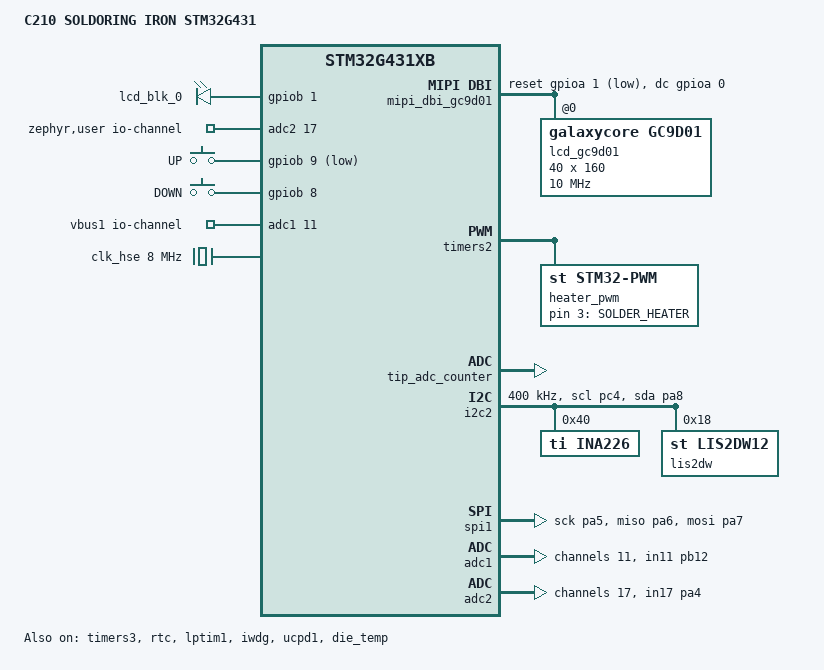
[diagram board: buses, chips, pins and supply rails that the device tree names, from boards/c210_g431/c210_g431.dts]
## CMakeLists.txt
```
cmake_minimum_required(VERSION 3.20.0)


set(BOARD_ROOT ${CMAKE_SOURCE_DIR})
#set(BOARD c210_g431)



find_package(Zephyr REQUIRED HINTS $ENV{ZEPHYR_BASE})

project(c210)

target_sources(app PRIVATE
  src/main.c
  src/usb_pd.c
  src/app_ui.c
  src/temperature_adc.c
  src/heater_controller.c
  src/pid_controller.c
  src/sleep_detection.c
  src/moving_average.c
  src/tft/canvas.c
  src/tft/fonts.c
)
```

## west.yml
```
manifest:
  remotes:
    - name: maoabc
      url-base: https://github.com/maoabc
    - name: zephyrproject-rtos
      url-base: https://github.com/zephyrproject-rtos

  projects:
    - name: zephyr
      remote: zephyrproject-rtos
      revision: main  
      import: true    # 必须！没有这个无法编译，报 boards.cmake 错误
      path: zephyr-master

    - name: gc9d01_zephyr
      remote: maoabc
      revision: main
      path: deps/gc9d01

  self:
    path: .
```

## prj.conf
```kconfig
CONFIG_USBC_STACK=y
CONFIG_USBC_CSM_SINK_ONLY=y
CONFIG_USBC_THREAD_PRIORITY=2

#CONFIG_MAIN_THREAD_PRIORITY=2

# 修改counter驱动初始化到PRE_KERNEL_2
# 修改stm32的ucpd驱动初始化到PRE_KERNEL_2
# 然后设置它们优先级，保证ucpd先于counter初始化
#CONFIG_COUNTER_INIT_PRIORITY=60
#CONFIG_USBC_TCPC_INIT_PRIORITY=10

CONFIG_FPU=y
#CONFIG_CMSIS_DSP=y
CONFIG_FP_HARDABI=y

#CONFIG_CMSIS_DSP_CONTROLLER=y
#CONFIG_CMSIS_DSP_FILTERING=y



CONFIG_GPIO=y
CONFIG_I2C=y
CONFIG_SPI=y



CONFIG_INPUT=y
CONFIG_INPUT_MODE_THREAD=y
CONFIG_INPUT_QUEUE_MAX_MSGS=8
CONFIG_INPUT_THREAD_STACK_SIZE=512

CONFIG_MAIN_STACK_SIZE=2048

#使用smf状态机框架
CONFIG_SMF=y


CONFIG_HEAP_MEM_POOL_SIZE=12288

CONFIG_DISPLAY=y
CONFIG_MIPI_DBI=y
CONFIG_MIPI_DBI_SPI=y
CONFIG_GC9D01=y
#CONFIG_DISPLAY_LOG_LEVEL_ERR=y


#CONFIG_CONSOLE=y
#
#CONFIG_SEMIHOST=y
#CONFIG_SEMIHOST_CONSOLE=y
#
#CONFIG_SERIAL=y
#CONFIG_UART_INTERRUPT_DRIVEN=y
#CONFIG_UART_CONSOLE=y
```

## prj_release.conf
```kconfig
# The following symbols are some of the settings that are currently recommended
# by the hardening tool https://docs.zephyrproject.org/latest/security/hardening-tool.html
# This file is used for builds with CONF_FILE=prj_release.conf
CONFIG_LOG=n
CONFIG_PRINTK=n
CONFIG_BOOT_BANNER=n
CONFIG_EARLY_CONSOLE=n
CONFIG_OVERRIDE_FRAME_POINTER_DEFAULT=y
CONFIG_USE_SEGGER_RTT=n
CONFIG_BUILD_OUTPUT_STRIPPED=y
CONFIG_FAULT_DUMP=0
CONFIG_STACK_SENTINEL=y

# Kconfig symbols are also used to set compiler optimizations. E.g., the following symbol optimizes
# the build for size using the compiler flag "-Os". You should therefore not modify the compiler
# flags in your CMake configuration, but use Kconfig instead.
# See also, https://docs.zephyrproject.org/latest/kconfig.html#CONFIG_COMPILER_OPTIMIZATIONS
CONFIG_SIZE_OPTIMIZATIONS=y
```

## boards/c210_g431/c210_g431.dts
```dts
/dts-v1/;
#include <st/g4/stm32g431Xb.dtsi>
#include <st/g4/stm32g431c(6-8-b)ux-pinctrl.dtsi>
#include <zephyr/dt-bindings/usb-c/pd.h>
#include <zephyr/dt-bindings/input/input-event-codes.h>

#include <zephyr/dt-bindings/display/panel.h>
#include <zephyr/dt-bindings/sensor/lis2dw12.h>
#include <zephyr/dt-bindings/pwm/pwm.h>



#include <zephyr/dt-bindings/mipi_dbi/mipi_dbi.h>


/ {
	model = "C210 SOLDORING IRON STM32G431";
	compatible = "mao,c210_g431";

	chosen {
		zephyr,sram = &sram0;
		zephyr,flash = &flash0;
		zephyr,display = &lcd_gc9d01;

	};

	aliases {
		btn0 = &button_0;
		btn1 = &button_1;
		lcd-blk = &lcd_blk_0;
		ina226 = &ina226;
		usbc-port0 = &usbc1;
		watchdog0 = &iwdg;
	};

	leds: leds {
		compatible = "gpio-leds";
        lcd_blk_0: lcd_blk0 {
			gpios = <&gpiob 1 GPIO_ACTIVE_HIGH>;
		};
	};

    zephyr,user {
        io-channels = <&adc2 17>;
    };



	buttons: buttons {
		compatible = "gpio-keys";
		polling-mode;
		debounce-interval-ms = <30>;
		button_0: button0 {
			label = "UP";
			gpios = <&gpiob 9 (GPIO_PULL_UP | GPIO_ACTIVE_LOW)>;
			zephyr,code = <INPUT_KEY_0>;
		};
		button_1: button1 {
			label = "DOWN";
			gpios = <&gpiob 8  (GPIO_PULL_DOWN | GPIO_ACTIVE_HIGH)>;
			zephyr,code = <INPUT_KEY_1>;
		};
	};

	longpress {
          input = <&buttons>;
          compatible = "zephyr,input-longpress";
          input-codes = <INPUT_KEY_0>,<INPUT_KEY_1>;
          short-codes = <INPUT_KEY_A>,<INPUT_KEY_B>;
          long-codes = <INPUT_KEY_X>,<INPUT_KEY_Y>;
          long-delay-ms = <1000>;
    };
	vbus1: vbus {
		compatible = "zephyr,usb-c-vbus-adc";
		status = "okay";
		io-channels = <&adc1 11>;
		output-ohms = <3600>;
		full-ohms = <(35000+3600)>;
	};
	ports {
		#address-cells = <1>;
		#size-cells = <0>;

		usbc1: usbc-port@1 {
			compatible = "usb-c-connector";
			status = "okay";
			reg = <1>;
			tcpc = <&ucpd1>;
			vbus = <&vbus1>;
			data-role = "device";
			power-role = "sink";
			sink-pdos = <
				PDO_FIXED(5000, 100, PDO_FIXED_USB_COMM)
				PDO_FIXED(9000, 1000, 0)
			>;
		};
		
    };
    pwmleds: pwmleds {
        compatible = "pwm-leds";
        status = "okay";
        solder_heater: solder_heater {
            pwms = <&heater_pwm 3 PWM_USEC(200) PWM_POLARITY_NORMAL>; /* TIM2_CH3，5 kHz  */
            label = "SOLDER_HEATER";
        }; 
    };

	mipi_dbi_gc9d01: mipi_dbi_gc9d01 {
		compatible = "zephyr,mipi-dbi-spi";
		spi-dev = <&spi1>;
		dc-gpios = <&gpioa 0 GPIO_ACTIVE_HIGH>;
		reset-gpios = <&gpioa 1 GPIO_ACTIVE_LOW>;
		#address-cells = <1>;
		#size-cells = <0>;

		 lcd_gc9d01: gc9d01@0 {
            compatible = "galaxycore,gc9d01";
            reg = <0>;
            mipi-max-frequency = <10000000>; 
            mipi-mode= "MIPI_DBI_MODE_SPI_4WIRE";
            width = <40>;
            height = <160>;
            pixel-format = <PANEL_PIXEL_FORMAT_RGB_565>;
            orientation = "90";
            //display-inversion; /* 可选，启用颜色反转 */
            pwrctrl2= [2c];
            pwrctrl3= [1a];
            pwrctrl4= [28];
            gamma1= [13 15 04 05 01 38];
            gamma2= [4B B8 7B 34 35 EF];
            gamma3= [13 15 04 05 01 34];
            gamma4= [47 B4 72 34 35 DA];

         };
    };

};


/* 启用 timers2 和 PWM 子节点 */
&timers2 {
    status = "okay";

    heater_pwm: heater_pwm {
        compatible = "st,stm32-pwm";
        #pwm-cells = <3>;
        pinctrl-0 = <&tim2_ch3_pa2>;
        pinctrl-names = "default";
        status = "okay";
    };
};

&timers3 {
    status = "okay";
    st,prescaler = <143>;


    //用counter对烙铁头热电偶定时采样
    tip_adc_counter: tip_adc_counter {
				compatible = "st,stm32-counter";
				status = "okay";
				label = "COUNTER_2";
	};
};





&clk_lsi {
	status = "okay";
};

&clk_lse {
	status = "disabled";
};

&clk_hsi {
	status = "disabled";
};

&clk_hse {
	status = "okay";
	clock-frequency = <DT_FREQ_M(8)>;
};

&rcc {
	clocks = <&pll>;
	clock-frequency = <DT_FREQ_M(144)>;
	ahb-prescaler = <1>;
	apb1-prescaler = <1>;
	apb2-prescaler = <1>;
};

&pll {
	status = "okay";
	div-m = <1>;
	mul-n = <36>;
	div-p = <2>;
	div-q = <6>;
	div-r = <2>;
	clocks = <&clk_hse>;
};

&rtc {
	status = "okay";
	clocks = <&rcc STM32_CLOCK_BUS_APB1 0x00000400>,
		 <&rcc STM32_SRC_LSI RTC_SEL(2)>;
};

stm32_lp_tick_source: &lptim1 {
    status = "okay";
    clocks = <&rcc STM32_CLOCK_BUS_APB1 0x80000000>, /* APB1 时钟 */
             <&rcc STM32_SRC_LSI LPTIM1_SEL(1)>; /* 使用 LSI 作为 LPTIM1 时钟源 */
};

&flash0 {
	partitions {
		compatible = "fixed-partitions";
		#address-cells = <1>;
		#size-cells = <1>;

		/* 4KiB of storage at the end of the 128KiB FLASH */
		storage_partition: partition@1f000 {
			label = "storage";
			reg = <0x0001f000 DT_SIZE_K(4)>;
		};
	};
};

&iwdg {
	status = "okay";
};

//&usart2 {
//	status = "disabled";
//	pinctrl-0 = <&usart2_tx_pa2 &usart2_rx_pa3>;
//	pinctrl-names = "default";
//	current-speed = <115200>;
//};


&i2c2 {
	status = "okay";
	pinctrl-0 = <&i2c2_scl_pc4 &i2c2_sda_pa8>;
	pinctrl-names = "default";
	clock-frequency = <I2C_BITRATE_FAST>;

	#address-cells = <1>;
	#size-cells = <0>;

	ina226: ina226@40 {
		compatible = "ti,ina226";
		status = "okay";
		reg = <0x40>;
		avg-count = <4>;
		vbus-conversion-time-us = <1100>;
		vshunt-conversion-time-us = <1100>;
		operating-mode = "Shunt and Bus, Continuous";
		current-lsb-microamps = <250>;
		rshunt-micro-ohms = <5000>; //5mR
	};

    lis2dw: lis2dw@18{
        compatible = "st,lis2dw12";
        status = "okay";
        reg = <0x18>;
        //wakeup-duration = <LIS2DW12_DT_WAKEUP_4_ODR>;
        //ff-threshold = <LIS2DW12_DT_FF_THRESHOLD_500_mg>;
        //tap-mode = <LIS2DW12_DT_SINGLE_DOUBLE_TAP>;
        power-mode = <LIS2DW12_DT_HP_MODE>;
        bw-filt = <LIS2DW12_DT_FILTER_BW_ODR_DIV_2>;
        odr = <100>;
        range = <2>;
        //irq-gpios = <&gpioc 6 GPIO_ACTIVE_HIGH>; // 可选：中断引脚
    };
	
};

&spi1 {
	status = "okay";
	pinctrl-0 = <
		         &spi1_sck_pa5
	             &spi1_miso_pa6
                 &spi1_mosi_pa7
	>;
	pinctrl-names = "default";
    cs-gpios = <&gpiob 10 GPIO_ACTIVE_LOW>;
    
};


&adc1 {
	#address-cells = <1>;
	#size-cells = <0>;

	pinctrl-0 = <&adc1_in11_pb12	    /* VBUS */
		    >;
	pinctrl-names = "default";
	st,adc-clock-source = "SYNC";
	st,adc-prescaler = <4>;
	status = "okay";

	channel@b {
		reg = <0xb>;
		zephyr,gain = "ADC_GAIN_1";
		zephyr,reference = "ADC_REF_INTERNAL";
		zephyr,vref-mv = <3300>;
		zephyr,acquisition-time = <ADC_ACQ_TIME_DEFAULT>;
		zephyr,resolution = <12>;
	};
};


&adc2 {
	#address-cells = <1>;
	#size-cells = <0>;

	pinctrl-0 = <&adc2_in17_pa4	    /* c210 temp */
		    >;
	pinctrl-names = "default";
	st,adc-clock-source = "SYNC";
	st,adc-prescaler = <4>;
	status = "okay";

	channel@11 {
		reg = <0x11>;
		zephyr,gain = "ADC_GAIN_1";
		zephyr,reference = "ADC_REF_INTERNAL";
		zephyr,vref-mv = <3300>;
		zephyr,acquisition-time = <ADC_ACQ_TIME(ADC_ACQ_TIME_TICKS, 6)>;
		zephyr,resolution = <12>;
        zephyr,oversampling = <4>;
	};
};

&dma1{
	status = "okay";
};

&ucpd1 {
	psc-ucpdclk = <1>;
	hbitclkdiv = <27>;
	pinctrl-0 = <&ucpd1_cc1_pb6 &ucpd1_cc2_pb4>;
	pinctrl-names = "default";
	status = "okay";
	dead-battery;
};
//stm32温度
&die_temp {
    status = "okay";
};
```

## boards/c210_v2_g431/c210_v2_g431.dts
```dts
/dts-v1/;
#include <st/g4/stm32g431Xb.dtsi>
#include <st/g4/stm32g431c(6-8-b)ux-pinctrl.dtsi>
#include <zephyr/dt-bindings/usb-c/pd.h>
#include <zephyr/dt-bindings/input/input-event-codes.h>

#include <zephyr/dt-bindings/display/panel.h>
#include <zephyr/dt-bindings/sensor/lis2dw12.h>
#include <zephyr/dt-bindings/pwm/pwm.h>



#include <zephyr/dt-bindings/mipi_dbi/mipi_dbi.h>


/ {
	model = "C210 SOLDORING IRON STM32G431";
	compatible = "mao,c210_v2_g431";

	chosen {
		zephyr,sram = &sram0;
		zephyr,flash = &flash0;
		zephyr,display = &lcd_gc9d01;

	};

	aliases {
		btn0 = &button_0;
		btn1 = &button_1;
		lcd-blk = &lcd_blk_0;
		ina226 = &ina226;
		usbc-port0 = &usbc1;
		watchdog0 = &iwdg;
	};

	leds: leds {
		compatible = "gpio-leds";
        lcd_blk_0: lcd_blk0 {
			gpios = <&gpiob 1 GPIO_ACTIVE_HIGH>;
		};
	};

    zephyr,user {
        io-channels = <&adc2 17>;
    };



	buttons: buttons {
		compatible = "gpio-keys";
		polling-mode;
		debounce-interval-ms = <30>;
		button_0: button0 {
			label = "UP";
			gpios = <&gpiob 9 (GPIO_PULL_UP | GPIO_ACTIVE_LOW)>;
			zephyr,code = <INPUT_KEY_0>;
		};
		button_1: button1 {
			label = "DOWN";
			gpios = <&gpiob 8  (GPIO_PULL_DOWN | GPIO_ACTIVE_HIGH)>;
			zephyr,code = <INPUT_KEY_1>;
		};
	};

	longpress {
          input = <&buttons>;
          compatible = "zephyr,input-longpress";
          input-codes = <INPUT_KEY_0>,<INPUT_KEY_1>;
          short-codes = <INPUT_KEY_A>,<INPUT_KEY_B>;
          long-codes = <INPUT_KEY_X>,<INPUT_KEY_Y>;
          long-delay-ms = <1000>;
    };
	vbus1: vbus {
		compatible = "zephyr,usb-c-vbus-adc";
		status = "okay";
		io-channels = <&adc1 11>;
		output-ohms = <3600>;
		full-ohms = <(35000+3600)>;
	};
	ports {
		#address-cells = <1>;
		#size-cells = <0>;

		usbc1: usbc-port@1 {
			compatible = "usb-c-connector";
			status = "okay";
			reg = <1>;
			tcpc = <&ucpd1>;
			vbus = <&vbus1>;
			data-role = "device";
			power-role = "sink";
			sink-pdos = <
				PDO_FIXED(5000, 100, PDO_FIXED_USB_COMM)
				PDO_FIXED(9000, 1000, 0)
			>;
		};
		
    };
    pwmleds: pwmleds {
        compatible = "pwm-leds";
        status = "okay";
        solder_heater: solder_heater {
            pwms = <&heater_pwm 2 PWM_USEC(50) PWM_POLARITY_NORMAL>; /* TIM2_CH2 */
            label = "SOLDER_HEATER";
        }; 
    };

	mipi_dbi_gc9d01: mipi_dbi_gc9d01 {
		compatible = "zephyr,mipi-dbi-spi";
		spi-dev = <&spi1>;
		dc-gpios = <&gpioa 0 GPIO_ACTIVE_HIGH>;
		reset-gpios = <&gpioc 13 GPIO_ACTIVE_LOW>;
		#address-cells = <1>;
		#size-cells = <0>;

		 lcd_gc9d01: gc9d01@0 {
            compatible = "galaxycore,gc9d01";
            reg = <0>;
            mipi-max-frequency = <10000000>; 
            mipi-mode= "MIPI_DBI_MODE_SPI_4WIRE";
            width = <40>;
            height = <160>;
            pixel-format = <PANEL_PIXEL_FORMAT_RGB_565>;
            orientation = "90";
            //display-inversion; /* 可选，启用颜色反转 */
            pwrctrl2= [2c];
            pwrctrl3= [1a];
            pwrctrl4= [28];
            gamma1= [13 15 04 05 01 38];
            gamma2= [4B B8 7B 34 35 EF];
            gamma3= [13 15 04 05 01 34];
            gamma4= [47 B4 72 34 35 DA];

         };
    };

};


/* 启用 timers2 和 PWM 子节点 */
&timers2 {
    status = "okay";

    heater_pwm: heater_pwm {
        compatible = "st,stm32-pwm";
        #pwm-cells = <3>;
        pinctrl-0 = <&tim2_ch2_pa1>;
        pinctrl-names = "default";
        status = "okay";
    };
};

&timers3 {
    status = "okay";
    st,prescaler = <143>;


    //用counter对烙铁头热电偶定时采样
    tip_adc_counter: tip_adc_counter {
				compatible = "st,stm32-counter";
				status = "okay";
				label = "COUNTER_2";
	};
};



&clk_lsi {
	status = "okay";
};

&clk_lse {
	status = "disabled";
};

&clk_hsi {
	status = "disabled";
};

&clk_hse {
	status = "okay";
	clock-frequency = <DT_FREQ_M(8)>;
};

&rcc {
	clocks = <&pll>;
	clock-frequency = <DT_FREQ_M(144)>;
	ahb-prescaler = <1>;
	apb1-prescaler = <1>;
	apb2-prescaler = <1>;
};

&pll {
	status = "okay";
	div-m = <1>;
	mul-n = <36>;
	div-p = <2>;
	div-q = <6>;
	div-r = <2>;
	clocks = <&clk_hse>;
};

&rtc {
	status = "okay";
	clocks = <&rcc STM32_CLOCK_BUS_APB1 0x00000400>,
		 <&rcc STM32_SRC_LSI RTC_SEL(2)>;
};

stm32_lp_tick_source: &lptim1 {
    status = "okay";
    clocks = <&rcc STM32_CLOCK_BUS_APB1 0x80000000>, /* APB1 时钟 */
             <&rcc STM32_SRC_LSI LPTIM1_SEL(1)>; /* 使用 LSI 作为 LPTIM1 时钟源 */
};

&flash0 {
	partitions {
		compatible = "fixed-partitions";
		#address-cells = <1>;
		#size-cells = <1>;

		/* 4KiB of storage at the end of the 128KiB FLASH */
		storage_partition: partition@1f000 {
			label = "storage";
			reg = <0x0001f000 DT_SIZE_K(4)>;
		};
	};
};

&iwdg {
	status = "okay";
};

//&usart2 {
//	status = "disabled";
//	pinctrl-0 = <&usart2_tx_pa2 &usart2_rx_pa3>;
//	pinctrl-names = "default";
//	current-speed = <115200>;
//};


&i2c2 {
	status = "okay";
	pinctrl-0 = <&i2c2_scl_pc4 &i2c2_sda_pa8>;
	pinctrl-names = "default";
	clock-frequency = <I2C_BITRATE_FAST>;

	#address-cells = <1>;
	#size-cells = <0>;

	ina226: ina226@40 {
		compatible = "ti,ina226";
		status = "okay";
		reg = <0x40>;
		avg-count = <4>;
		vbus-conversion-time-us = <1100>;
		vshunt-conversion-time-us = <1100>;
		operating-mode = "Shunt and Bus, Continuous";
		current-lsb-microamps = <250>;
		rshunt-micro-ohms = <5000>; //5mR
	};

    lis2dw: lis2dw@18{
        compatible = "st,lis2dw12";
        status = "okay";
        reg = <0x18>;
        //wakeup-duration = <LIS2DW12_DT_WAKEUP_4_ODR>;
        //ff-threshold = <LIS2DW12_DT_FF_THRESHOLD_500_mg>;
        //tap-mode = <LIS2DW12_DT_SINGLE_DOUBLE_TAP>;
        power-mode = <LIS2DW12_DT_HP_MODE>;
        bw-filt = <LIS2DW12_DT_FILTER_BW_ODR_DIV_2>;
        odr = <100>;
        range = <2>;
        //irq-gpios = <&gpioc 6 GPIO_ACTIVE_HIGH>; // 可选：中断引脚
    };
	
};

&spi1 {
	status = "okay";
	pinctrl-0 = <
		         &spi1_sck_pa5
	             &spi1_miso_pa6
                 &spi1_mosi_pa7
	>;
	pinctrl-names = "default";
    cs-gpios = <&gpiob 10 GPIO_ACTIVE_LOW>;
    
};

&adc1 {
	#address-cells = <1>;
	#size-cells = <0>;

	pinctrl-0 = <&adc1_in11_pb12	    /* VBUS */
		    >;
	pinctrl-names = "default";
	st,adc-clock-source = "SYNC";
	st,adc-prescaler = <4>;
	status = "okay";

	channel@b {
		reg = <0xb>;
		zephyr,gain = "ADC_GAIN_1";
		zephyr,reference = "ADC_REF_INTERNAL";
		zephyr,vref-mv = <3300>;
		zephyr,acquisition-time = <ADC_ACQ_TIME_DEFAULT>;
		zephyr,resolution = <12>;
	};
};


&adc2 {
	#address-cells = <1>;
	#size-cells = <0>;

	pinctrl-0 = <&adc2_in17_pa4	    /* c210 temp */
		    >;
	pinctrl-names = "default";
	st,adc-clock-source = "SYNC";
	st,adc-prescaler = <4>;
	status = "okay";

	channel@11 {
		reg = <0x11>;
		zephyr,gain = "ADC_GAIN_1";
		zephyr,reference = "ADC_REF_INTERNAL";
		zephyr,vref-mv = <3300>;
		zephyr,acquisition-time = <ADC_ACQ_TIME(ADC_ACQ_TIME_TICKS, 6)>;
		zephyr,resolution = <12>;
        zephyr,oversampling = <4>;
	};
};

//&dma1{
//	status = "okay";
//};

&ucpd1 {
	psc-ucpdclk = <1>;
	hbitclkdiv = <27>;
	pinctrl-0 = <&ucpd1_cc1_pb6 &ucpd1_cc2_pb4>;
	pinctrl-names = "default";
	status = "okay";
	dead-battery;
};

//stm32温度
&die_temp {
    status = "okay";
};
```

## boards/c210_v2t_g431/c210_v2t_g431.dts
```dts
/dts-v1/;
#include <st/g4/stm32g431Xb.dtsi>
#include <st/g4/stm32g431c(6-8-b)ux-pinctrl.dtsi>
#include <zephyr/dt-bindings/usb-c/pd.h>
#include <zephyr/dt-bindings/input/input-event-codes.h>

#include <zephyr/dt-bindings/display/panel.h>
#include <zephyr/dt-bindings/sensor/lis2dw12.h>
#include <zephyr/dt-bindings/pwm/pwm.h>



#include <zephyr/dt-bindings/mipi_dbi/mipi_dbi.h>


/ {
	model = "C210 SOLDORING IRON STM32G431";
	compatible = "mao,c210_v2t_g431";

	chosen {
		zephyr,sram = &sram0;
		zephyr,flash = &flash0;
		zephyr,display = &lcd_gc9d01;

	};

	aliases {
		btn0 = &button_0;
		btn1 = &button_1;
		lcd-blk = &lcd_blk_0;
		ina226 = &ina226;
		usbc-port0 = &usbc1;
		watchdog0 = &iwdg;
	};

	leds: leds {
		compatible = "gpio-leds";
        lcd_blk_0: lcd_blk0 {
			gpios = <&gpiob 1 GPIO_ACTIVE_HIGH>;
		};
	};

    zephyr,user {
        io-channels = <&adc2 2>;
    };



	buttons: buttons {
		compatible = "gpio-keys";
		polling-mode;
		debounce-interval-ms = <30>;
		button_0: button0 {
			label = "UP";
			gpios = <&gpiob 9 (GPIO_PULL_UP | GPIO_ACTIVE_LOW)>;
			zephyr,code = <INPUT_KEY_0>;
		};
		button_1: button1 {
			label = "DOWN";
			gpios = <&gpiob 8  (GPIO_PULL_DOWN | GPIO_ACTIVE_HIGH)>;
			zephyr,code = <INPUT_KEY_1>;
		};
	};

	longpress {
          input = <&buttons>;
          compatible = "zephyr,input-longpress";
          input-codes = <INPUT_KEY_0>,<INPUT_KEY_1>;
          short-codes = <INPUT_KEY_A>,<INPUT_KEY_B>;
          long-codes = <INPUT_KEY_X>,<INPUT_KEY_Y>;
          long-delay-ms = <1000>;
    };
	vbus1: vbus {
		compatible = "zephyr,usb-c-vbus-adc";
		status = "okay";
		io-channels = <&adc1 11>;
		output-ohms = <3600>;
		full-ohms = <(35000+3600)>;
	};
	ports {
		#address-cells = <1>;
		#size-cells = <0>;

		usbc1: usbc-port@1 {
			compatible = "usb-c-connector";
			status = "okay";
			reg = <1>;
			tcpc = <&ucpd1>;
			vbus = <&vbus1>;
			data-role = "device";
			power-role = "sink";
			sink-pdos = <
				PDO_FIXED(5000, 100, PDO_FIXED_USB_COMM)
				PDO_FIXED(9000, 1000, 0)
			>;
		};
		
    };
    pwmleds: pwmleds {
        compatible = "pwm-leds";
        status = "okay";
        solder_heater: solder_heater {
            pwms = <&heater_pwm 2 PWM_USEC(50) PWM_POLARITY_NORMAL>; /* TIM3_CH2 */
            label = "SOLDER_HEATER";
        }; 
    };

	mipi_dbi_gc9d01: mipi_dbi_gc9d01 {
		compatible = "zephyr,mipi-dbi-spi";
		spi-dev = <&spi1>;
		dc-gpios = <&gpioa 0 GPIO_ACTIVE_HIGH>;
		reset-gpios = <&gpioc 13 GPIO_ACTIVE_LOW>;
		#address-cells = <1>;
		#size-cells = <0>;

		 lcd_gc9d01: gc9d01@0 {
            compatible = "galaxycore,gc9d01";
            reg = <0>;
            mipi-max-frequency = <10000000>; 
            mipi-mode= "MIPI_DBI_MODE_SPI_4WIRE";
            width = <40>;
            height = <160>;
            pixel-format = <PANEL_PIXEL_FORMAT_RGB_565>;
            orientation = "90";
            //display-inversion; /* 可选，启用颜色反转 */
            pwrctrl2= [2c];
            pwrctrl3= [1a];
            pwrctrl4= [28];
            gamma1= [13 15 04 05 01 38];
            gamma2= [4B B8 7B 34 35 EF];
            gamma3= [13 15 04 05 01 34];
            gamma4= [47 B4 72 34 35 DA];

         };
    };

};


/* 启用 timers3 和 PWM 子节点 */
&timers3 {
    status = "okay";

    heater_pwm: heater_pwm {
        compatible = "st,stm32-pwm";
        #pwm-cells = <3>;
        pinctrl-0 = <&tim3_ch2_pa4>;
        pinctrl-names = "default";
        status = "okay";
    };
};

&timers2 {
    status = "okay";
    st,prescaler = <143>;


    //用counter对烙铁头热电偶定时采样
    tip_adc_counter: tip_adc_counter {
				compatible = "st,stm32-counter";
				status = "okay";
				label = "COUNTER_2";
	};
};



&clk_lsi {
	status = "okay";
};

&clk_lse {
	status = "disabled";
};

&clk_hsi {
	status = "disabled";
};

&clk_hse {
	status = "okay";
	clock-frequency = <DT_FREQ_M(8)>;
};

&rcc {
	clocks = <&pll>;
	clock-frequency = <DT_FREQ_M(144)>;
	ahb-prescaler = <1>;
	apb1-prescaler = <1>;
	apb2-prescaler = <1>;
};

&pll {
	status = "okay";
	div-m = <1>;
	mul-n = <36>;
	div-p = <2>;
	div-q = <6>;
	div-r = <2>;
	clocks = <&clk_hse>;
};

&rtc {
	status = "okay";
	clocks = <&rcc STM32_CLOCK_BUS_APB1 0x00000400>,
		 <&rcc STM32_SRC_LSI RTC_SEL(2)>;
};

stm32_lp_tick_source: &lptim1 {
    status = "okay";
    clocks = <&rcc STM32_CLOCK_BUS_APB1 0x80000000>, /* APB1 时钟 */
             <&rcc STM32_SRC_LSI LPTIM1_SEL(1)>; /* 使用 LSI 作为 LPTIM1 时钟源 */
};

&flash0 {
	partitions {
		compatible = "fixed-partitions";
		#address-cells = <1>;
		#size-cells = <1>;

		/* 4KiB of storage at the end of the 128KiB FLASH */
		storage_partition: partition@1f000 {
			label = "storage";
			reg = <0x0001f000 DT_SIZE_K(4)>;
		};
	};
};

&iwdg {
	status = "okay";
};

//&usart2 {
//	status = "disabled";
//	pinctrl-0 = <&usart2_tx_pa2 &usart2_rx_pa3>;
//	pinctrl-names = "default";
//	current-speed = <115200>;
//};


&i2c2 {
	status = "okay";
	pinctrl-0 = <&i2c2_scl_pc4 &i2c2_sda_pa8>;
	pinctrl-names = "default";
	clock-frequency = <I2C_BITRATE_FAST>;

	#address-cells = <1>;
	#size-cells = <0>;

	ina226: ina226@40 {
		compatible = "ti,ina226";
		status = "okay";
		reg = <0x40>;
		avg-count = <4>;
		vbus-conversion-time-us = <1100>;
		vshunt-conversion-time-us = <1100>;
		operating-mode = "Shunt and Bus, Continuous";
		current-lsb-microamps = <250>;
		rshunt-micro-ohms = <5000>; //5mR
	};

    lis2dw: lis2dw@18{
        compatible = "st,lis2dw12";
        status = "okay";
        reg = <0x18>;
        //wakeup-duration = <LIS2DW12_DT_WAKEUP_4_ODR>;
        //ff-threshold = <LIS2DW12_DT_FF_THRESHOLD_500_mg>;
        //tap-mode = <LIS2DW12_DT_SINGLE_DOUBLE_TAP>;
        power-mode = <LIS2DW12_DT_HP_MODE>;
        bw-filt = <LIS2DW12_DT_FILTER_BW_ODR_DIV_2>;
        odr = <100>;
        range = <2>;
        //irq-gpios = <&gpioc 6 GPIO_ACTIVE_HIGH>; // 可选：中断引脚
    };
	
};

&spi1 {
	status = "okay";
	pinctrl-0 = <
		         &spi1_sck_pa5
	             &spi1_miso_pa6
                 &spi1_mosi_pa7
	>;
	pinctrl-names = "default";
    cs-gpios = <&gpiob 10 GPIO_ACTIVE_LOW>;
    
};

&adc1 {
	#address-cells = <1>;
	#size-cells = <0>;

	pinctrl-0 = <&adc1_in11_pb12	    /* VBUS */
		    >;
	pinctrl-names = "default";
	st,adc-clock-source = "SYNC";
	st,adc-prescaler = <4>;
	status = "okay";

	channel@b {
		reg = <0xb>;
		zephyr,gain = "ADC_GAIN_1";
		zephyr,reference = "ADC_REF_INTERNAL";
		zephyr,vref-mv = <3300>;
		zephyr,acquisition-time = <ADC_ACQ_TIME_DEFAULT>;
		zephyr,resolution = <12>;
	};
};

&adc2 {
	#address-cells = <1>;
	#size-cells = <0>;

	pinctrl-0 = <&adc2_in2_pa1	    /* c210 temp */
		    >;
	pinctrl-names = "default";
	st,adc-clock-source = "SYNC";
	st,adc-prescaler = <4>;
	status = "okay";

	channel@2 {
		reg = <0x02>;
		zephyr,gain = "ADC_GAIN_1";
		zephyr,reference = "ADC_REF_INTERNAL";
		zephyr,vref-mv = <3300>;
		zephyr,acquisition-time = <ADC_ACQ_TIME(ADC_ACQ_TIME_TICKS, 6)>;
		zephyr,resolution = <12>;
        zephyr,oversampling = <4>;
	};
};



//&dma1{
//	status = "okay";
//};

&ucpd1 {
	psc-ucpdclk = <1>;
	hbitclkdiv = <27>;
	pinctrl-0 = <&ucpd1_cc1_pb6 &ucpd1_cc2_pb4>;
	pinctrl-names = "default";
	status = "okay";
	dead-battery;
};

//stm32温度
&die_temp {
    status = "okay";
};
```

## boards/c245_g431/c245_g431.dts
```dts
/dts-v1/;
#include <st/g4/stm32g431Xb.dtsi>
#include <st/g4/stm32g431c(6-8-b)ux-pinctrl.dtsi>
#include <zephyr/dt-bindings/usb-c/pd.h>
#include <zephyr/dt-bindings/input/input-event-codes.h>

#include <zephyr/dt-bindings/display/panel.h>
#include <zephyr/dt-bindings/sensor/lis2dw12.h>
#include <zephyr/dt-bindings/pwm/pwm.h>



#include <zephyr/dt-bindings/mipi_dbi/mipi_dbi.h>


/ {
	model = "C245 SOLDORING IRON STM32G431";
	compatible = "mao,c245_g431";

	chosen {
		zephyr,sram = &sram0;
		zephyr,flash = &flash0;
		zephyr,display = &lcd_gc9d01;

	};

	aliases {
		btn0 = &button_0;
		btn1 = &button_1;
		lcd-blk = &lcd_blk_0;
		ina226 = &ina226;
		usbc-port0 = &usbc1;
		watchdog0 = &iwdg;
	};

	leds: leds {
		compatible = "gpio-leds";
        lcd_blk_0: lcd_blk0 {
			gpios = <&gpiob 1 GPIO_ACTIVE_HIGH>;
		};
	};

    zephyr,user {
        io-channels = <&adc2 17>;
    };



	buttons: buttons {
		compatible = "gpio-keys";
		polling-mode;
		debounce-interval-ms = <30>;
		button_0: button0 {
			label = "UP";
			gpios = <&gpiob 9 (GPIO_PULL_UP | GPIO_ACTIVE_LOW)>;
			zephyr,code = <INPUT_KEY_0>;
		};
		button_1: button1 {
			label = "DOWN";
			gpios = <&gpiob 8  (GPIO_PULL_DOWN | GPIO_ACTIVE_HIGH)>;
			zephyr,code = <INPUT_KEY_1>;
		};
	};

	longpress {
          input = <&buttons>;
          compatible = "zephyr,input-longpress";
          input-codes = <INPUT_KEY_0>,<INPUT_KEY_1>;
          short-codes = <INPUT_KEY_A>,<INPUT_KEY_B>;
          long-codes = <INPUT_KEY_X>,<INPUT_KEY_Y>;
          long-delay-ms = <1000>;
    };
	vbus1: vbus {
		compatible = "zephyr,usb-c-vbus-adc";
		status = "okay";
		io-channels = <&adc1 11>;
		output-ohms = <3600>;
		full-ohms = <(35000+3600)>;
	};
	ports {
		#address-cells = <1>;
		#size-cells = <0>;

		usbc1: usbc-port@1 {
			compatible = "usb-c-connector";
			status = "okay";
			reg = <1>;
			tcpc = <&ucpd1>;
			vbus = <&vbus1>;
			data-role = "device";
			power-role = "sink";
			sink-pdos = <
				PDO_FIXED(5000, 100, PDO_FIXED_USB_COMM)
				PDO_FIXED(9000, 1000, 0)
			>;
		};
		
    };
    pwmleds: pwmleds {
        compatible = "pwm-leds";
        status = "okay";
        solder_heater: solder_heater {
            pwms = <&heater_pwm 2 PWM_USEC(50) PWM_POLARITY_NORMAL>; /* TIM2_CH2 */
            label = "SOLDER_HEATER";
        }; 
    };

	mipi_dbi_gc9d01: mipi_dbi_gc9d01 {
		compatible = "zephyr,mipi-dbi-spi";
		spi-dev = <&spi1>;
		dc-gpios = <&gpioa 0 GPIO_ACTIVE_HIGH>;
		reset-gpios = <&gpioc 13 GPIO_ACTIVE_LOW>;
		#address-cells = <1>;
		#size-cells = <0>;

		 lcd_gc9d01: gc9d01@0 {
            compatible = "galaxycore,gc9d01";
            reg = <0>;
            mipi-max-frequency = <10000000>; 
            mipi-mode= "MIPI_DBI_MODE_SPI_4WIRE";
            width = <40>;
            height = <160>;
            pixel-format = <PANEL_PIXEL_FORMAT_RGB_565>;
            orientation = "90";
            //display-inversion; /* 可选，启用颜色反转 */
            pwrctrl2= [2c];
            pwrctrl3= [1a];
            pwrctrl4= [28];
            gamma1= [13 15 04 05 01 38];
            gamma2= [4B B8 7B 34 35 EF];
            gamma3= [13 15 04 05 01 34];
            gamma4= [47 B4 72 34 35 DA];

         };
    };

};


/* 启用 timers2 和 PWM 子节点 */
&timers2 {
    status = "okay";

    heater_pwm: heater_pwm {
        compatible = "st,stm32-pwm";
        #pwm-cells = <3>;
        pinctrl-0 = <&tim2_ch2_pa1>;
        pinctrl-names = "default";
        status = "okay";
    };
};

&timers3 {
    status = "okay";
    st,prescaler = <143>;


    //用counter对烙铁头热电偶定时采样
    tip_adc_counter: tip_adc_counter {
				compatible = "st,stm32-counter";
				status = "okay";
				label = "COUNTER_2";
	};
};



&clk_lsi {
	status = "okay";
};

&clk_lse {
	status = "disabled";
};

&clk_hsi {
	status = "disabled";
};

&clk_hse {
	status = "okay";
	clock-frequency = <DT_FREQ_M(8)>;
};

&rcc {
	clocks = <&pll>;
	clock-frequency = <DT_FREQ_M(144)>;
	ahb-prescaler = <1>;
	apb1-prescaler = <1>;
	apb2-prescaler = <1>;
};

&pll {
	status = "okay";
	div-m = <1>;
	mul-n = <36>;
	div-p = <2>;
	div-q = <6>;
	div-r = <2>;
	clocks = <&clk_hse>;
};

&rtc {
	status = "okay";
	clocks = <&rcc STM32_CLOCK_BUS_APB1 0x00000400>,
		 <&rcc STM32_SRC_LSI RTC_SEL(2)>;
};

stm32_lp_tick_source: &lptim1 {
    status = "okay";
    clocks = <&rcc STM32_CLOCK_BUS_APB1 0x80000000>, /* APB1 时钟 */
             <&rcc STM32_SRC_LSI LPTIM1_SEL(1)>; /* 使用 LSI 作为 LPTIM1 时钟源 */
};

&flash0 {
	partitions {
		compatible = "fixed-partitions";
		#address-cells = <1>;
		#size-cells = <1>;

		/* 4KiB of storage at the end of the 128KiB FLASH */
		storage_partition: partition@1f000 {
			label = "storage";
			reg = <0x0001f000 DT_SIZE_K(4)>;
		};
	};
};

&iwdg {
	status = "okay";
};

//&usart2 {
//	status = "disabled";
//	pinctrl-0 = <&usart2_tx_pa2 &usart2_rx_pa3>;
//	pinctrl-names = "default";
//	current-speed = <115200>;
//};


&i2c2 {
	status = "okay";
	pinctrl-0 = <&i2c2_scl_pc4 &i2c2_sda_pa8>;
	pinctrl-names = "default";
	clock-frequency = <I2C_BITRATE_FAST>;

	#address-cells = <1>;
	#size-cells = <0>;

	ina226: ina226@40 {
		compatible = "ti,ina226";
		status = "okay";
		reg = <0x40>;
		avg-count = <4>;
		vbus-conversion-time-us = <1100>;
		vshunt-conversion-time-us = <1100>;
		operating-mode = "Shunt and Bus, Continuous";
		current-lsb-microamps = <250>;
		rshunt-micro-ohms = <5000>; //5mR
	};

    lis2dw: lis2dw@18{
        compatible = "st,lis2dw12";
        status = "okay";
        reg = <0x18>;
        //wakeup-duration = <LIS2DW12_DT_WAKEUP_4_ODR>;
        //ff-threshold = <LIS2DW12_DT_FF_THRESHOLD_500_mg>;
        //tap-mode = <LIS2DW12_DT_SINGLE_DOUBLE_TAP>;
        power-mode = <LIS2DW12_DT_HP_MODE>;
        bw-filt = <LIS2DW12_DT_FILTER_BW_ODR_DIV_2>;
        odr = <100>;
        range = <2>;
        //irq-gpios = <&gpioc 6 GPIO_ACTIVE_HIGH>; // 可选：中断引脚
    };
	
};

&spi1 {
	status = "okay";
	pinctrl-0 = <
		         &spi1_sck_pa5
	             &spi1_miso_pa6
                 &spi1_mosi_pa7
	>;
	pinctrl-names = "default";
    cs-gpios = <&gpiob 10 GPIO_ACTIVE_LOW>;
    
};

&adc1 {
	#address-cells = <1>;
	#size-cells = <0>;

	pinctrl-0 = <&adc1_in11_pb12	    /* VBUS */
		    >;
	pinctrl-names = "default";
	st,adc-clock-source = "SYNC";
	st,adc-prescaler = <4>;
	status = "okay";

	channel@b {
		reg = <0xb>;
		zephyr,gain = "ADC_GAIN_1";
		zephyr,reference = "ADC_REF_INTERNAL";
		zephyr,vref-mv = <3300>;
		zephyr,acquisition-time = <ADC_ACQ_TIME_DEFAULT>;
		zephyr,resolution = <12>;
	};

	channel@10 {
		reg = <0x10>;
		zephyr,gain = "ADC_GAIN_1";
		zephyr,reference = "ADC_REF_INTERNAL";
		zephyr,vref-mv = <3300>;
		zephyr,acquisition-time = <ADC_ACQ_TIME_MAX>;
		zephyr,resolution = <12>;
        zephyr,oversampling = <4>;
	};
};


&adc2 {
	#address-cells = <1>;
	#size-cells = <0>;

	pinctrl-0 = <&adc2_in17_pa4	    /* c210 temp */
		    >;
	pinctrl-names = "default";
	st,adc-clock-source = "SYNC";
	st,adc-prescaler = <4>;
	status = "okay";

	channel@11 {
		reg = <0x11>;
		zephyr,gain = "ADC_GAIN_1";
		zephyr,reference = "ADC_REF_INTERNAL";
		zephyr,vref-mv = <3300>;
		zephyr,acquisition-time = <ADC_ACQ_TIME(ADC_ACQ_TIME_TICKS, 6)>;
		zephyr,resolution = <12>;
        zephyr,oversampling = <4>;
	};
};

//&dma1{
//	status = "okay";
//};

&ucpd1 {
	psc-ucpdclk = <1>;
	hbitclkdiv = <27>;
	pinctrl-0 = <&ucpd1_cc1_pb6 &ucpd1_cc2_pb4>;
	pinctrl-names = "default";
	status = "okay";
	dead-battery;
};

//stm32温度
&die_temp {
    status = "okay";
};
```

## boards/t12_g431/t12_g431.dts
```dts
/dts-v1/;
#include <st/g4/stm32g431Xb.dtsi>
#include <st/g4/stm32g431c(6-8-b)ux-pinctrl.dtsi>
#include <zephyr/dt-bindings/usb-c/pd.h>
#include <zephyr/dt-bindings/input/input-event-codes.h>

#include <zephyr/dt-bindings/display/panel.h>
#include <zephyr/dt-bindings/sensor/lis2dw12.h>
#include <zephyr/dt-bindings/pwm/pwm.h>



#include <zephyr/dt-bindings/mipi_dbi/mipi_dbi.h>


/ {
	model = "C210 SOLDORING IRON STM32G431";
	compatible = "mao,c210_g431";

	chosen {
		zephyr,sram = &sram0;
		zephyr,flash = &flash0;
		zephyr,display = &lcd_gc9d01;

	};

	aliases {
		btn0 = &button_0;
		btn1 = &button_1;
		lcd-blk = &lcd_blk_0;
		ina226 = &ina226;
		usbc-port0 = &usbc1;
		watchdog0 = &iwdg;
	};

	leds: leds {
		compatible = "gpio-leds";
        lcd_blk_0: lcd_blk0 {
			gpios = <&gpiob 1 GPIO_ACTIVE_HIGH>;
		};
	};

    zephyr,user {
        io-channels = <&adc2 17>;
    };



	buttons: buttons {
		compatible = "gpio-keys";
		polling-mode;
		debounce-interval-ms = <30>;
		button_0: button0 {
			label = "UP";
			gpios = <&gpiob 9 (GPIO_PULL_UP | GPIO_ACTIVE_LOW)>;
			zephyr,code = <INPUT_KEY_0>;
		};
		button_1: button1 {
			label = "DOWN";
			gpios = <&gpiob 8  (GPIO_PULL_DOWN | GPIO_ACTIVE_HIGH)>;
			zephyr,code = <INPUT_KEY_1>;
		};
	};

	longpress {
          input = <&buttons>;
          compatible = "zephyr,input-longpress";
          input-codes = <INPUT_KEY_0>,<INPUT_KEY_1>;
          short-codes = <INPUT_KEY_A>,<INPUT_KEY_B>;
          long-codes = <INPUT_KEY_X>,<INPUT_KEY_Y>;
          long-delay-ms = <1000>;
    };

	vbus1: vbus {
		compatible = "zephyr,usb-c-vbus-adc";
		status = "okay";
		io-channels = <&adc1 11>;
		output-ohms = <3600>;
		full-ohms = <(35000+3600)>;
	};

	ports {
		#address-cells = <1>;
		#size-cells = <0>;

		usbc1: usbc-port@1 {
			compatible = "usb-c-connector";
			status = "okay";
			reg = <1>;
			tcpc = <&ucpd1>;
			vbus = <&vbus1>;
			data-role = "device";
			power-role = "sink";
			sink-pdos = <
				PDO_FIXED(5000, 100, PDO_FIXED_USB_COMM)
				PDO_FIXED(9000, 1000, 0)
			>;
		};
		
    };
    pwmleds: pwmleds {
        compatible = "pwm-leds";
        status = "okay";
        solder_heater: solder_heater {
            pwms = <&heater_pwm 2 PWM_MSEC(1) PWM_POLARITY_NORMAL>; /* TIM2_CH2，1 kHz  */
            label = "SOLDER_HEATER";
        }; 
    };

	mipi_dbi_gc9d01: mipi_dbi_gc9d01 {
		compatible = "zephyr,mipi-dbi-spi";
		spi-dev = <&spi1>;
		dc-gpios = <&gpioa 0 GPIO_ACTIVE_HIGH>;
		reset-gpios = <&gpioa 2 GPIO_ACTIVE_LOW>;
		#address-cells = <1>;
		#size-cells = <0>;

		 lcd_gc9d01: gc9d01@0 {
            compatible = "galaxycore,gc9d01";
            reg = <0>;
            mipi-max-frequency = <10000000>; 
            mipi-mode= "MIPI_DBI_MODE_SPI_4WIRE";
            width = <40>;
            height = <160>;
            pixel-format = <PANEL_PIXEL_FORMAT_RGB_565>;
            orientation = "90";
            //display-inversion; /* 可选，启用颜色反转 */
            pwrctrl2= [2c];
            pwrctrl3= [1a];
            pwrctrl4= [28];
            gamma1= [13 15 04 05 01 38];
            gamma2= [4B B8 7B 34 35 EF];
            gamma3= [13 15 04 05 01 34];
            gamma4= [47 B4 72 34 35 DA];
         };
    };

};


/* 启用 timers2 和 PWM 子节点 */
&timers2 {
    status = "okay";

    heater_pwm: heater_pwm {
        compatible = "st,stm32-pwm";
        #pwm-cells = <3>;
        pinctrl-0 = <&tim2_ch2_pa1>;
        pinctrl-names = "default";
        status = "okay";
    };
};

&timers3 {
    status = "okay";
    st,prescaler = <143>;


    //用counter对烙铁头热电偶定时采样
    tip_adc_counter: tip_adc_counter {
				compatible = "st,stm32-counter";
				status = "okay";
				label = "COUNTER_2";
	};
};





&clk_lsi {
	status = "okay";
};

&clk_lse {
	status = "disabled";
};

&clk_hsi {
	status = "disabled";
};

&clk_hse {
	status = "okay";
	clock-frequency = <DT_FREQ_M(8)>;
};

&rcc {
	clocks = <&pll>;
	clock-frequency = <DT_FREQ_M(144)>;
	ahb-prescaler = <1>;
	apb1-prescaler = <1>;
	apb2-prescaler = <1>;
};

&pll {
	status = "okay";
	div-m = <1>;
	mul-n = <36>;
	div-p = <2>;
	div-q = <6>;
	div-r = <2>;
	clocks = <&clk_hse>;
};

&rtc {
	status = "okay";
	clocks = <&rcc STM32_CLOCK_BUS_APB1 0x00000400>,
		 <&rcc STM32_SRC_LSI RTC_SEL(2)>;
};

stm32_lp_tick_source: &lptim1 {
    status = "okay";
    clocks = <&rcc STM32_CLOCK_BUS_APB1 0x80000000>, /* APB1 时钟 */
             <&rcc STM32_SRC_LSI LPTIM1_SEL(1)>; /* 使用 LSI 作为 LPTIM1 时钟源 */
};

&flash0 {
	partitions {
		compatible = "fixed-partitions";
		#address-cells = <1>;
		#size-cells = <1>;

		/* 4KiB of storage at the end of the 128KiB FLASH */
		storage_partition: partition@1f000 {
			label = "storage";
			reg = <0x0001f000 DT_SIZE_K(4)>;
		};
	};
};

&iwdg {
	status = "okay";
};

//&usart2 {
//	status = "disabled";
//	pinctrl-0 = <&usart2_tx_pa2 &usart2_rx_pa3>;
//	pinctrl-names = "default";
//	current-speed = <115200>;
//};


&i2c2 {
	status = "okay";
	pinctrl-0 = <&i2c2_scl_pc4 &i2c2_sda_pa8>;
	pinctrl-names = "default";
	clock-frequency = <I2C_BITRATE_FAST>;

	#address-cells = <1>;
	#size-cells = <0>;

	ina226: ina226@40 {
		compatible = "ti,ina226";
		status = "okay";
		reg = <0x40>;
		avg-count = <4>;
		vbus-conversion-time-us = <1100>;
		vshunt-conversion-time-us = <1100>;
		operating-mode = "Shunt and Bus, Continuous";
		current-lsb-microamps = <250>;
		rshunt-micro-ohms = <5000>; //5mR
	};


    lis2dw: lis2dw@18{
        compatible = "st,lis2dw12";
        status = "okay";
        reg = <0x18>;
        //wakeup-duration = <LIS2DW12_DT_WAKEUP_4_ODR>;
        //ff-threshold = <LIS2DW12_DT_FF_THRESHOLD_500_mg>;
        //tap-mode = <LIS2DW12_DT_SINGLE_DOUBLE_TAP>;
        power-mode = <LIS2DW12_DT_HP_MODE>;
        bw-filt = <LIS2DW12_DT_FILTER_BW_ODR_DIV_2>;
        odr = <100>;
        range = <2>;
        //irq-gpios = <&gpioc 6 GPIO_ACTIVE_HIGH>; // 可选：中断引脚

    };
   
};

&spi1 {
	status = "okay";
	pinctrl-0 = <
		         &spi1_sck_pa5
	             &spi1_miso_pa6
                 &spi1_mosi_pa7
	>;
	pinctrl-names = "default";
    cs-gpios = <&gpiob 10 GPIO_ACTIVE_LOW>;
    
};

&adc1 {
	#address-cells = <1>;
	#size-cells = <0>;

	pinctrl-0 = <&adc1_in11_pb12	    /* VBUS */
		    >;
	pinctrl-names = "default";
	st,adc-clock-source = "SYNC";
	st,adc-prescaler = <4>;
	status = "okay";

	channel@b {
		reg = <0xb>;
		zephyr,gain = "ADC_GAIN_1";
		zephyr,reference = "ADC_REF_INTERNAL";
		zephyr,vref-mv = <3300>;
		zephyr,acquisition-time = <ADC_ACQ_TIME_DEFAULT>;
		zephyr,resolution = <12>;
	};
};


&adc2 {
	#address-cells = <1>;
	#size-cells = <0>;

	pinctrl-0 = <&adc2_in17_pa4	    /* temp */
		    >;
	pinctrl-names = "default";
	st,adc-clock-source = "SYNC";
	st,adc-prescaler = <4>;
	status = "okay";

	channel@11 {
		reg = <0x11>;
		zephyr,gain = "ADC_GAIN_1";
		zephyr,reference = "ADC_REF_INTERNAL";
		zephyr,vref-mv = <3300>;
		zephyr,acquisition-time = <ADC_ACQ_TIME(ADC_ACQ_TIME_TICKS, 6)>;
		zephyr,resolution = <12>;
        zephyr,oversampling = <4>;
	};
};

//&dma1{
//	status = "okay";
//};

&ucpd1 {
	psc-ucpdclk = <1>;
	hbitclkdiv = <27>;
	pinctrl-0 = <&ucpd1_cc1_pb6 &ucpd1_cc2_pb4>;
	pinctrl-names = "default";
	status = "okay";
	dead-battery;
};
//stm32温度
&die_temp {
    status = "okay";
};
```

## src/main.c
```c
#include <zephyr/device.h>
#include <zephyr/devicetree.h>
#include <zephyr/drivers/display.h>
#include <zephyr/drivers/gpio.h>
#include <zephyr/drivers/sensor.h>
#include <zephyr/kernel.h>
#include <zephyr/sys/printk.h>

#include <zephyr/drivers/i2c.h>
#include <zephyr/input/input.h>

#include <zephyr/drivers/usb_c/usbc_pd.h>
#include <zephyr/drivers/usb_c/usbc_tc.h>
#include <zephyr/drivers/usb_c/usbc_tcpc.h>

#include "app_ui.h"
#include "usb_pd.h"

#include "heater_controller.h"
#include "temperature_adc.h"
#include "sleep_detection.h"

#include <zephyr/logging/log.h>
LOG_MODULE_REGISTER(main, LOG_LEVEL_DBG);

static struct app app;

static void input_cb(struct input_event *evt, void *user_data)
{
	if (evt->value) { // press down
		if (evt->code == INPUT_KEY_A) {
			app_event_handler(&app, EVT_UP);
		} else if (evt->code == INPUT_KEY_B) {
			app_event_handler(&app, EVT_DOWN);
		} else if (evt->code == INPUT_KEY_X) {
			app_event_handler(&app, EVT_NEXT);
		} else if (evt->code == INPUT_KEY_Y) {
			app_event_handler(&app, EVT_OK);
		}
	}
}

INPUT_CALLBACK_DEFINE(NULL, input_cb, NULL);


int main(void)
{
	app_init(&app);
	temp_adc_init();

	if (init_tip_controller(&app)) {
		LOG_ERR("Soldering tip controller init failed");
		return -1;
	}
	if(sleep_detection_init(&app)){
		LOG_ERR("Sleep detection init failed");
		return -1;
    }
	pd_start(&app);

	while (1) {
		app_draw(&app);
	}
	return 0;
}
```

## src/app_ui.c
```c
#include <math.h>
#include <stdio.h>
#include <string.h>
#include <zephyr/device.h>
#include <zephyr/devicetree.h>
#include <zephyr/drivers/display.h>
#include <zephyr/drivers/gpio.h>
#include <zephyr/drivers/sensor.h>
#include <zephyr/drivers/usb_c/usbc_pd.h>
#include <zephyr/kernel.h>
#include <zephyr/smf.h>
#include <zephyr/sys/atomic.h>
#include <zephyr/sys/printk.h>
#include <zephyr/sys_clock.h>
#include <zephyr/sys/util.h>

#include "app_ui.h"
#include "tft/canvas.h"

#include "tft/fonts.h"

#include "usb_pd.h"
#include "temperature_adc.h"

#include <zephyr/logging/log.h>
LOG_MODULE_REGISTER(main, LOG_LEVEL_DBG);

#define FPS 10

static void ui_set_state(struct app *app, const enum ui_state state);

static const struct device *ina226_dev = DEVICE_DT_GET(DT_ALIAS(ina226));

static const struct device *display_dev = DEVICE_DT_GET(DT_CHOSEN(zephyr_display));

// 屏幕背光控制
static const struct gpio_dt_spec lcd_blk = GPIO_DT_SPEC_GET(DT_ALIAS(lcd_blk), gpios);

static void display_init(void)
{
	if (!device_is_ready(display_dev)) {
		LOG_ERR("DISPLAY device not ready");
		return;
	}

	display_blanking_off(display_dev);
	display_set_orientation(display_dev, DISPLAY_ORIENTATION_ROTATED_90);
	draw_fill_screen(display_dev, COLOR_BLACK);
	// 开启屏幕背光
	gpio_pin_configure_dt(&lcd_blk, GPIO_OUTPUT_LOW | GPIO_PULL_DOWN);
	gpio_pin_set_dt(&lcd_blk, 1);
}

static void sample_fetch(struct app *app)
{
	sensor_sample_fetch_chan(ina226_dev, SENSOR_CHAN_ALL);
}

static void main_entry(void *obj)
{
	struct app *app = (struct app *)obj;
	app->tip_ctrl->heater_on = true;
}

static void main_event(struct app *app, const enum event evt)
{
	if (evt == EVT_UP) {
		app->tip_ctrl->setpoint += 10.0f;
	} else if (evt == EVT_DOWN) {
		app->tip_ctrl->setpoint -= 10.0f;
	} else if (evt == EVT_OK) {
		ui_set_state(app, UI_PREVIEW);
		app->req.val = FULL_SCREEN;
	}
}

static enum smf_state_result main_draw(void *obj)
{
	struct app *app = (struct app *)obj;
	char buf[32];
	struct sensor_value val;

	sample_fetch(app);

	snprintf(buf, sizeof(buf),
		 "%3d\xb0"
		 "C",
		 (int32_t)app->tip_ctrl->cur_temp);
	draw_text(display_dev, buf, 10, 7, Font_16x26,
		  app->tip_ctrl->is_sleeping ? COLOR_GREEN : COLOR_YELLOW, COLOR_BLACK);

	int8_t x_off = 100;

	int8_t y_off = 2;
	snprintf(buf, sizeof(buf), "SET:%03d", (int32_t)app->tip_ctrl->setpoint);
	draw_text(display_dev, buf, x_off, y_off, Font_7x10, COLOR_YELLOW, COLOR_BLACK);

	sensor_channel_get(ina226_dev, SENSOR_CHAN_VOLTAGE, &val);
	y_off += 10 + 4;
	snprintf(buf, sizeof(buf), "U:%2d.%1dV", val.val1, (val.val2 / 100000) % 10);
	draw_text(display_dev, buf, x_off, y_off, Font_7x10, COLOR_WHITE, COLOR_BLACK);

	sensor_channel_get(ina226_dev, SENSOR_CHAN_POWER, &val);
	y_off += 10 + 4;
	snprintf(buf, sizeof(buf), "P:%2d.%1dW", val.val1, (val.val2 / 100000) % 10);
	draw_text(display_dev, buf, x_off, y_off, Font_7x10, COLOR_RED, COLOR_BLACK);

	// snprintf(buf, sizeof(buf), "%-5s", app->tip_ctrl->is_sleeping ? "sleep" : "run");
	// draw_text(display_dev, buf, x_off - 40, y_off, Font_7x10, COLOR_GREEN, COLOR_BLACK);
	return SMF_EVENT_HANDLED;
}

static void pid_tuning_entry(void *obj)
{
}

static enum smf_state_result pid_tuning_draw(void *obj)
{
	char buf[32];
	struct app *app = (struct app *)obj;
	snprintf(buf, sizeof(buf), "%03d", (int32_t)app->tip_ctrl->cur_temp);
	draw_text(display_dev, buf, 10, 7, Font_16x26, COLOR_YELLOW, COLOR_BLACK);

	int8_t x_off = 100;

	int8_t y_off = 2;
	snprintf(buf, sizeof(buf), "Kp:%03d", (int32_t)(pid_get_kp(&app->tip_ctrl->pid) * 100));
	draw_text(display_dev, buf, x_off, y_off, Font_7x10, COLOR_YELLOW, COLOR_BLACK);

	y_off += 10 + 3;
	snprintf(buf, sizeof(buf), "Ki:%03d", (int32_t)(pid_get_ki(&app->tip_ctrl->pid) * 100));
	draw_text(display_dev, buf, x_off, y_off, Font_7x10, COLOR_WHITE, COLOR_BLACK);

	y_off += 10 + 3;
	snprintf(buf, sizeof(buf), "Kd:%03d", (int32_t)(pid_get_kd(&app->tip_ctrl->pid) * 100));
	draw_text(display_dev, buf, x_off, y_off, Font_7x10, COLOR_RED, COLOR_BLACK);

	snprintf(buf, sizeof(buf), "%d", app->p_adj);
	draw_text(display_dev, buf, 80, 25, Font_7x10, COLOR_YELLOW, COLOR_BLACK);
	return SMF_EVENT_HANDLED;
}

static void pid_tuning_event(struct app *app, const enum event evt)
{
	if (evt == EVT_OK) { // 切换pid调整的参数类型
		enum pid_adj adj = app->p_adj;
		if (adj < ADJ_KD) {
			adj++;
		} else {
			adj = ADJ_KP;
		}
		app->p_adj = adj;
		return;
	}
	float kp = pid_get_kp(&app->tip_ctrl->pid);
	float ki = pid_get_ki(&app->tip_ctrl->pid);
	float kd = pid_get_kd(&app->tip_ctrl->pid);

	switch (app->p_adj) {
	case ADJ_KP:
		if (evt == EVT_UP) {
			kp += 0.1f;
		} else if (evt == EVT_DOWN) {
			kp -= 0.1f;
		}
		break;
	case ADJ_KI:
		if (evt == EVT_UP) {
			ki += 0.01f;
		} else if (evt == EVT_DOWN) {
			ki -= 0.01f;
		}
		break;
	case ADJ_KD:

		if (evt == EVT_UP) {
			kd += 0.1f;
		} else if (evt == EVT_DOWN) {
			kd -= 0.1f;
		}
		break;
	}
	pid_set_tunings(&app->tip_ctrl->pid, kp, ki, kd);
}

static void preview_entry(void *obj)
{
	struct app *app = (struct app *)obj;
	update_cool_temp();
	app->tip_ctrl->heater_on = false;
}

static enum smf_state_result preview_draw(void *obj)
{
	struct app *app = (struct app *)obj;
	char buf[32];
	struct sensor_value val;

	sample_fetch(app);

	int8_t x_off = 80;

	int8_t y_off = 8;

	snprintf(buf, sizeof(buf), "%3d", (int32_t)app->tip_ctrl->cur_temp);
	draw_text(display_dev, buf, 0, y_off, Font_7x10, COLOR_YELLOW, COLOR_BLACK);

	sensor_channel_get(ina226_dev, SENSOR_CHAN_VOLTAGE, &val);
	snprintf(buf, sizeof(buf), "VBUS:%2d.%1dV", val.val1, (val.val2 / 100000) % 10);
	draw_text(display_dev, buf, x_off, y_off, Font_7x10, COLOR_WHITE, COLOR_BLACK);
	y_off += 18;

	int16_t die_temp = (int16_t)(read_die_temp() * 10);
	snprintf(buf, sizeof(buf), "TEMP:%2d.%1d", die_temp / 10, die_temp % 10);
	draw_text(display_dev, buf, 0, y_off, Font_7x10, COLOR_RED, COLOR_BLACK);

	snprintf(buf, sizeof(buf), ":%d %d", pd_get_requested_voltage(app->port) / 1000,
		 check_pd_ready(app->port));
	draw_text(display_dev, buf, 80, y_off, Font_7x10, COLOR_RED, COLOR_BLACK);
	return SMF_EVENT_HANDLED;
}

static enum event preview_event(struct app *app)
{
	enum event evt;
	if (check_pd_ready(app->port)) { // 检测pd请求是否已完成
		sample_fetch(app);
		struct sensor_value val;
		sensor_channel_get(ina226_dev, SENSOR_CHAN_VOLTAGE, &val);

		// 检测实际电压跟请求电压差不超过2V
		if (abs(pd_get_requested_voltage(app->port) -
			(int)(sensor_value_to_double(&val) * 1000)) < 2000 &&
		    (int)(sensor_value_to_double(&val) * 1000) >
			    7000 // 这里随便加了7V保证请求的是9V以上档位
		) {
			evt = EVT_HOME;
		} else {
			// 尝试重新请求pd
			pd_send_hard_reset(app->port);
			evt = EVT_EMPTY;
		}
	} else { // 什么都不做,等待pd通信完成
		evt = EVT_EMPTY;
	}
	return evt;
}

static const struct smf_state ui_states[UI_STATE_COUNT] = {
	[UI_MAIN] = SMF_CREATE_STATE(main_entry, main_draw, NULL, NULL, NULL),
	[UI_PID_TUNING] = SMF_CREATE_STATE(pid_tuning_entry, pid_tuning_draw, NULL, NULL, NULL),
	[UI_PREVIEW] = SMF_CREATE_STATE(preview_entry, preview_draw, NULL, NULL, NULL),
};

static void ui_set_state(struct app *app, const enum ui_state state)
{
	smf_set_state(SMF_CTX(app), &ui_states[state]);
}

static enum ui_state ui_get_current_state(struct app *app)
{
	return app->ctx.current - &ui_states[0];
}

void app_init(struct app *app)
{

	display_init();

	if (!device_is_ready(ina226_dev)) {
		LOG_ERR("INA226 device not ready");
		return;
	}
	k_fifo_init(&app->req_fifo);

	memset(app, 0, sizeof(struct app));

	k_mutex_init(&app->mutex);
	app->last_time = k_uptime_get_32() + (1000 / FPS) * 2; // 保证第一次被刷新

	smf_set_initial(SMF_CTX(app), &ui_states[UI_PREVIEW]);
}

void app_draw(struct app *app)
{
	struct req_value *req;
	if (k_mutex_lock(&app->mutex, K_FOREVER)) {
		return;
	}

	// 控制帧数
	int32_t delay = MIN((1000 / FPS) - (k_uptime_get_32() - app->last_time),
			    2000); // 防止可能的时间溢出导致等待时间过长
	k_timeout_t timeout;
	if (delay <= 0) {
		timeout = K_NO_WAIT;
	} else {
		timeout = K_MSEC(delay);
	}

	// 等待超时或者提前有事件发生，需要马上刷新界面
	req = k_fifo_get(&app->req_fifo, timeout);

	app->last_time = k_uptime_get_32(); // 从这里记录时间，把屏幕刷新所用时间计算进去

	if (req != NULL && req->val == FULL_SCREEN) {
		draw_fill_screen(display_dev, COLOR_BLACK);
	}
	smf_run_state(SMF_CTX(app));

	k_mutex_unlock(&app->mutex);
}

void app_event_handler(struct app *app, enum event evt)
{
	if (k_mutex_lock(&app->mutex, K_FOREVER)) {
		return;
	}
	enum ui_state state = ui_get_current_state(app);
	app->req.val = NORMAL;
	// 防止preview界面被反复进入
	if (state == UI_PREVIEW && evt != EVT_ENTER_PREVIEW) {
		evt = preview_event(app); // 任意按键，检测pd电压是否达到要求
	}
	switch (evt) {
	case EVT_NEXT: {
		state++;
		if (state >= UI_STATE_COUNT) {
			// 回到初始界面
			state = UI_MAIN;
		}
		ui_set_state(app, state);
		app->req.val = FULL_SCREEN;
		break;
	}
	case EVT_BACK: {
		state--;
		if (state < UI_MAIN) {
			state = UI_STATE_COUNT - 1; // 到最后界面
		}
		ui_set_state(app, state);
		app->req.val = FULL_SCREEN;
		break;
	}
	case EVT_HOME: {
		if (state != UI_MAIN) {
			ui_set_state(app, UI_MAIN);
			app->req.val = FULL_SCREEN;
		}
		break;
	}
	case EVT_UP:
	case EVT_DOWN:
	case EVT_OK: {
		if (state == UI_MAIN) {
			main_event(app, evt);
		} else if (state == UI_PID_TUNING) {
			pid_tuning_event(app, evt);
		}
		break;
	}
	case EVT_ENTER_PREVIEW: {
		if (state != UI_PREVIEW) {
			ui_set_state(app, UI_PREVIEW);
			app->req.val = FULL_SCREEN;
		}
		break;
	}
	case EVT_EMPTY:
	default:
		break;
	}
	// 发生事件，马上刷新屏幕
	k_fifo_put(&app->req_fifo, &app->req);

	k_mutex_unlock(&app->mutex);
}
```

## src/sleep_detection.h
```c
#ifndef __SLEEP_DETECTION_H
#define __SLEEP_DETECTION_H

#include <zephyr/kernel.h>

struct app;
int sleep_detection_init(struct app *app);

#endif
```
